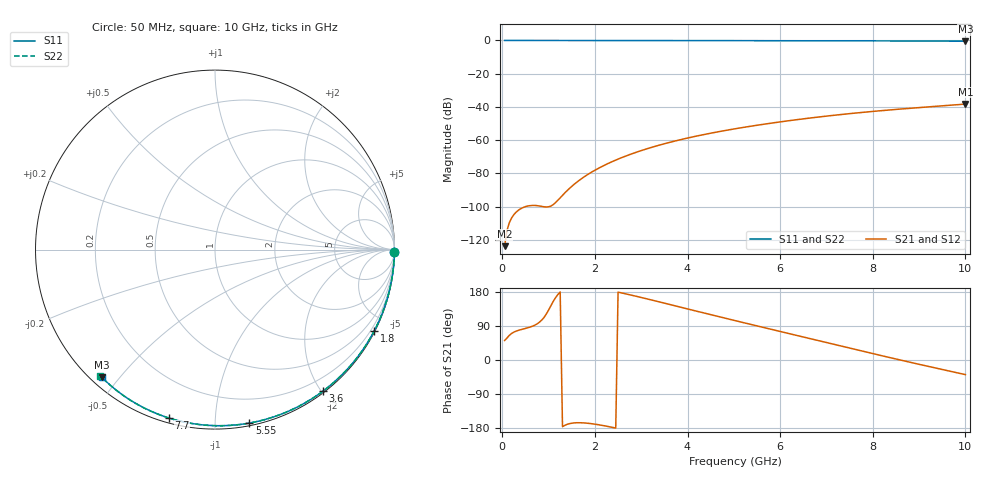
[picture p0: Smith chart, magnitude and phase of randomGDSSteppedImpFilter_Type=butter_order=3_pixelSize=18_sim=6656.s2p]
! freq	dB(S11)	phase(S11)	dB(S12)	phase(S12)
!  dB(S21)	phase(S21)	dB(S22)	phase(S22)
!S-par simulation data
#  GHz  S  DB  R 50
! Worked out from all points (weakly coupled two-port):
!   200 points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, 50 MHz to 10 GHz, reference 50 ohm
!   highest |S21| = -38.31 dB at 10 GHz (marker M1); lowest = -123.9 dB at 50 MHz (marker M2)
!   lowest |S11| = -0.4 dB at 10 GHz (marker M3), VSWR 39.16, Z = 1.53 - j22.4 ohm
!   |S11| at or under -10 dB: nowhere
!   |S22| runs from -0.4 to 0.0 dB; largest |S21 - S12| = 0
!   S11 on the Smith chart (normalised r, x): 50 MHz: open; 1.8 GHz: 0.04, -4.17; 3.6 GHz: 0.02, -2.02; 5.55 GHz: 0.02, -1.22; 7.7 GHz: 0.02, -0.76; 10 GHz: 0.03, -0.45
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0.05  -0.00 -0.8  -123.88 51.4  -123.88 51.4  -0.00 -0.8
0.9  -0.02 -13.6  -100.17 112.1  -100.17 112.1  -0.02 -13.7
1.75  -0.03 -26.3  -82.45 -165.9  -82.45 -165.9  -0.03 -26.4
1.8  -0.03 -27.0  -81.51 -166.4  -81.51 -166.4  -0.03 -27.1
1.9  -0.04 -28.5  -79.76 -167.6  -79.76 -167.6  -0.04 -28.6
2.05  -0.04 -30.7  -77.37 -170.3  -77.37 -170.3  -0.04 -30.8
2.25  -0.04 -33.6  -74.54 -174.6  -74.54 -174.6  -0.04 -33.7
2.45  -0.05 -36.5  -72.03 -179.6  -72.03 -179.6  -0.05 -36.6
2.65  -0.05 -39.4  -69.77 175.0  -69.77 175.0  -0.05 -39.5
3  -0.06 -44.4  -66.32 165.0  -66.32 165.0  -0.06 -44.5
3.4  -0.07 -50.0  -62.95 153.1  -62.95 153.1  -0.07 -50.2
3.6  -0.07 -52.8  -61.46 147.0  -61.46 147.0  -0.07 -53.0
3.9  -0.08 -56.9  -59.40 137.9  -59.40 137.9  -0.08 -57.1
4.3  -0.09 -62.4  -56.96 125.7  -56.96 125.7  -0.09 -62.6
5.05  -0.11 -72.3  -53.07 103.2  -53.07 103.2  -0.11 -72.6
5.55  -0.13 -78.8  -50.84 88.5  -50.84 88.5  -0.13 -79.1
6.1  -0.15 -85.8  -48.65 72.4  -48.65 72.4  -0.15 -86.1
6.7  -0.18 -93.2  -46.52 54.8  -46.52 54.8  -0.18 -93.6
7.7  -0.24 -105.3  -43.51 25.6  -43.51 25.6  -0.24 -105.6
8.35  -0.29 -112.9  -41.88 6.9  -41.88 6.9  -0.29 -113.3
9.15  -0.36 -122.1  -40.11 -15.5  -40.11 -15.5  -0.36 -122.5
10  -0.44 -131.7  -38.31 -38.6  -38.31 -38.6  -0.44 -132.2
